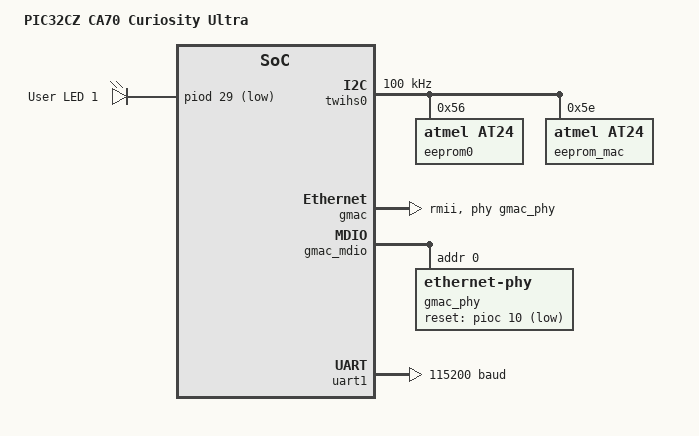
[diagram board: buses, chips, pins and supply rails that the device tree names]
/*
 * SPDX-FileCopyrightText: Copyright (c) 2026 Microchip Technology Inc.
 *
 * SPDX-License-Identifier: Apache-2.0
 */

/dts-v1/;
#include <zephyr/dt-bindings/gpio/gpio.h>
#include <microchip/pic32c/pic32cz_ca70_mc70/pic32cz_ca70/pic32cz2051ca70144.dtsi>
#include <zephyr/dt-bindings/i2c/i2c.h>
#include "pic32cz_ca70_cult-pinctrl.dtsi"

/ {
	compatible = "pic32cz_ca70,cult", "microchip,pic32cz2051ca70144";
	model = "PIC32CZ CA70 Curiosity Ultra";

	chosen {
		zephyr,sram = &sram0;
		zephyr,flash = &flash0;
		zephyr,console = &uart1;
		zephyr,shell-uart = &uart1;
	};

	aliases {
		led0 = &led0;
		eeprom-0 = &eeprom0;
	};

	leds {
		compatible = "gpio-leds";

		led0: led_0 {
			gpios = <&piod 29 GPIO_ACTIVE_LOW>;
			label = "User LED 1";
		};
	};
};

&twihs0 {
	clock-frequency = <I2C_BITRATE_STANDARD>;
	pinctrl-0 = <&mikrobus_header_i2c>;
	pinctrl-names = "default";
	dmas = <&xdmac 6 DMA_PERID_TWIHS0_TX>, <&xdmac 7 DMA_PERID_TWIHS0_RX>;
	dma-names = "tx", "rx";
	status = "okay";

	eeprom0: eeprom@56 {
		compatible = "atmel,at24", "atmel,24mac402";
		reg = <0x56>;
		size = <256>;
		pagesize = <16>;
		address-width = <8>;
		timeout = <5>;
	};

	eeprom_mac: eeprom@5e {
		compatible = "atmel,at24", "atmel,24mac402";
		reg = <0x5e>;
		size = <256>;
		pagesize = <16>;
		address-width = <8>;
		timeout = <5>;
		read-only;

		nvmem-layout {
			compatible = "fixed-layout";
			#address-cells = <1>;
			#size-cells = <1>;

			mac_address: mac-address@9a {
				reg = <0x9a 6>;
				#nvmem-cell-cells = <0>;
			};
		};
	};
};

&gmac {
	pinctrl-names = "default";
	pinctrl-0 = <&ethernet_header_rmii>;
	nvmem-cells = <&mac_address>;
	nvmem-cell-names = "mac-address";
	phy-connection-type = "rmii";
	phy-handle = <&gmac_phy>;
	status = "okay";
};

&gmac_mdio {
	pinctrl-names = "default";
	pinctrl-0 = <&ethernet_header_mdio>;
	status = "okay";

	gmac_phy: gmac0_phy: ethernet-phy@0 {
		compatible = "ethernet-phy";
		reg = <0>;
		reset-gpios = <&pioc 10 GPIO_ACTIVE_LOW>;
		status = "okay";
	};
};

&uart1 {
	current-speed = <115200>;

	pinctrl-0 = <&uart1_default>;
	pinctrl-names = "default";

	status = "okay";
};

&xdmac {
	status = "okay";
};

&cpu0 {
	clock-frequency = <300000000>;
};
